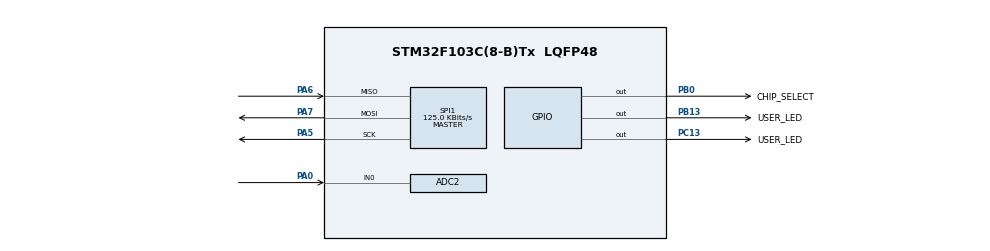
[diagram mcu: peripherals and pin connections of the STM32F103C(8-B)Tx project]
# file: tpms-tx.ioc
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ADC2.Channel-0\#ChannelRegularConversion=ADC_CHANNEL_0
ADC2.ContinuousConvMode=ENABLE
ADC2.NbrOfConversionFlag=1
ADC2.Rank-0\#ChannelRegularConversion=1
ADC2.SamplingTime-0\#ChannelRegularConversion=ADC_SAMPLETIME_41CYCLES_5
Mcu.Family=STM32F1
Mcu.Name=STM32F103C(8-B)Tx
Mcu.Package=LQFP48
NVIC.PriorityGroup=NVIC_PRIORITYGROUP_4
PA0-WKUP.Signal=ADCx_IN0
PA13.Mode=Serial_Wire
PA13.Signal=SYS_JTMS-SWDIO
PA14.Mode=Serial_Wire
PA14.Signal=SYS_JTCK-SWCLK
PA5.Mode=Full_Duplex_Master
PA5.Signal=SPI1_SCK
PA6.Mode=Full_Duplex_Master
PA6.Signal=SPI1_MISO
PA7.Mode=Full_Duplex_Master
PA7.Signal=SPI1_MOSI
PB0.GPIO_Label=CHIP_SELECT
PB0.Signal=GPIO_Output
PB13.GPIO_Label=USER_LED
PB13.Signal=GPIO_Output
PC13-TAMPER-RTC.GPIO_Label=USER_LED
PC13-TAMPER-RTC.Signal=GPIO_Output
PC14-OSC32_IN.Mode=LSE-External-Oscillator
PC14-OSC32_IN.Signal=RCC_OSC32_IN
PC15-OSC32_OUT.Mode=LSE-External-Oscillator
PC15-OSC32_OUT.Signal=RCC_OSC32_OUT
PD0-OSC_IN.Mode=HSE-External-Oscillator
PD0-OSC_IN.Signal=RCC_OSC_IN
PD1-OSC_OUT.Mode=HSE-External-Oscillator
PD1-OSC_OUT.Signal=RCC_OSC_OUT
ProjectManager.HeapSize=0x200
ProjectManager.StackSize=0x400
ProjectManager.TargetToolchain=CMake
RCC.APB1Freq_Value=8000000
RCC.APB2Freq_Value=8000000
SH.ADCx_IN0.0=ADC2_IN0,IN0
SPI1.BaudRatePrescaler=SPI_BAUDRATEPRESCALER_64
SPI1.CalculateBaudRate=125.0 KBits/s
SPI1.Direction=SPI_DIRECTION_2LINES
SPI1.Mode=SPI_MODE_MASTER
SPI1.VirtualType=VM_MASTER
board=custom

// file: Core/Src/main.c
/* USER CODE BEGIN Header */
/**
 ******************************************************************************
 * @file           : main.c
 * @brief          : Main program body
 ******************************************************************************
 * @attention
 *
 * Copyright (c) 2024 STMicroelectronics.
 * All rights reserved.
 *
 * This software is licensed under terms that can be found in the LICENSE file
 * in the root directory of this software component.
 * If no LICENSE file comes with this software, it is provided AS-IS.
 *
 ******************************************************************************
 */
/* USER CODE END Header */
#include "main.h"
#include "adc.h"
#include "spi.h"
#include "gpio.h"

/* USER CODE BEGIN Includes */

#include "nrf2401.h"

/* USER CODE END Includes */

void SystemClock_Config(void);

int main(void)
{

  /* USER CODE BEGIN 1 */

  // SPI payloads
  static TxPayload txpayload = {0};
  uint8_t rxbuffer[RX_BUF_SZ_BYTES] = {0};

  // RF payloads
  uint8_t rf_payload[PAYLOAD_SZ_BYTES] = {0};

  /* USER CODE END 1 */

  /* MCU Configuration--------------------------------------------------------*/

  /* Reset of all peripherals, Initializes the Flash interface and the Systick. */
  HAL_Init();

  /* Configure the system clock */
  SystemClock_Config();

  /* Initialize all configured peripherals */
  MX_GPIO_Init();
  MX_SPI1_Init();
  MX_ADC2_Init();
  /* USER CODE BEGIN 2 */

  // transmit a test command to bring CLK low (not sure why the clock is high to
  // begin with)
  txpayload.command = R_REGISTER(CONFIG_REGISTER);
  tx_cmd(&txpayload, 1);

  HAL_Delay(1000);

  // make sure to power on the device
  txpayload.command = W_REGISTER(CONFIG_REGISTER);
  txpayload.data[0] = 0b00001110;
  tx_cmd(&txpayload, 2);

  // turn off auto re-transmission
  txpayload.command = W_REGISTER(SETUP_RETR);
  // txpayload.data[0] = 0x0; /* disables auto re-transmission */
  txpayload.data[0] = 0x3; /* default value */
  tx_cmd(&txpayload, 2);

  // flush the TX buffer
  txpayload.command = FLUSH_TX;
  tx_cmd(&txpayload, 1);

  // read back configuration

  txpayload.command = R_REGISTER(CONFIG_REGISTER);
  tx_rx_cmd(&txpayload, 1, rxbuffer, 1);
  uint8_t config = rxbuffer[0];

  txpayload.command = R_REGISTER(EN_RXADDR);
  tx_rx_cmd(&txpayload, 1, rxbuffer, 1);
  uint8_t en_rxaddr = rxbuffer[0];

  txpayload.command = R_REGISTER(RF_CH);
  tx_rx_cmd(&txpayload, 1, rxbuffer, 1);
  uint8_t rfch = rxbuffer[0];

  txpayload.command = R_REGISTER(RF_SETUP);
  tx_rx_cmd(&txpayload, 1, rxbuffer, 1);
  uint8_t rfsetup = rxbuffer[0];

  txpayload.command = R_REGISTER(SETUP_RETR);
  tx_rx_cmd(&txpayload, 1, rxbuffer, 1);
  uint8_t retr_setup = rxbuffer[0];

  txpayload.command = R_REGISTER(RX_ADDR_P0);
  tx_rx_cmd(&txpayload, 1, rxbuffer, 5);
  uint64_t rx_addr_p0 = *((uint64_t*)rxbuffer);

  txpayload.command = R_REGISTER(TX_ADDR);
  tx_rx_cmd(&txpayload, 1, rxbuffer, 5);
  uint64_t tx_addr = *((uint64_t*)rxbuffer);

  // assert correct configuration

  assert_param(config == 0b00001110);
  assert_param(en_rxaddr == 0b00000011);
  assert_param(rfch == 0b00000010);
  assert_param(rfsetup == 0b00001111);
  assert_param(rx_addr_p0 == 0xe7e7e7e7e7);
  assert_param(tx_addr == 0xe7e7e7e7e7);
  assert_param(retr_setup == 0x3);

  // setup the RF transmission payload
  // *((uint64_t*)rf_payload) = (uint64_t)(0xdeadbeef);

  HAL_ADC_Start(&hadc2);

  /* USER CODE END 2 */

  /* Infinite loop */
  while (1) {

    /* USER CODE BEGIN 3 */

    // read the pressure sensor
    HAL_ADC_PollForConversion(&hadc2, 1000);
    uint32_t pressure_val = HAL_ADC_GetValue(&hadc2);
    *((uint32_t*)rf_payload) = pressure_val;

    // transmit a test payload of 8 bytes
    txpayload.command = W_TX_PAYLOAD;
    memcpy(txpayload.data, rf_payload, PAYLOAD_SZ_BYTES);
    tx_cmd(&txpayload, PAYLOAD_SZ_BYTES + 1);

    // check the TX FIFO status
    txpayload.command = R_REGISTER(FIFO_STATUS);
    tx_rx_cmd(&txpayload, 1, rxbuffer , 1);
    uint8_t fifo_status = rxbuffer[0];
    uint8_t tx_full = (fifo_status >> 5) & 0x1;

    // if (tx_full) {
    //   HAL_GPIO_WritePin(USER_LED_GPIO_Port, USER_LED_Pin, GPIO_PIN_SET);
    // }

    HAL_GPIO_TogglePin(USER_LED_GPIO_Port, USER_LED_Pin);

    HAL_Delay(1000);
  }
  /* USER CODE END 3 */
}

void SystemClock_Config(void)
{
  RCC_OscInitTypeDef RCC_OscInitStruct = {0};
  RCC_ClkInitTypeDef RCC_ClkInitStruct = {0};
  RCC_PeriphCLKInitTypeDef PeriphClkInit = {0};

  /** Initializes the RCC Oscillators according to the specified parameters
  * in the RCC_OscInitTypeDef structure.
  */
  RCC_OscInitStruct.OscillatorType = RCC_OSCILLATORTYPE_HSI;
  RCC_OscInitStruct.HSIState = RCC_HSI_ON;
  RCC_OscInitStruct.HSICalibrationValue = RCC_HSICALIBRATION_DEFAULT;
  RCC_OscInitStruct.PLL.PLLState = RCC_PLL_NONE;
  if (HAL_RCC_OscConfig(&RCC_OscInitStruct) != HAL_OK)
  {
    Error_Handler();
  }

  /** Initializes the CPU, AHB and APB buses clocks
  */
  RCC_ClkInitStruct.ClockType = RCC_CLOCKTYPE_HCLK|RCC_CLOCKTYPE_SYSCLK
                              |RCC_CLOCKTYPE_PCLK1|RCC_CLOCKTYPE_PCLK2;
  RCC_ClkInitStruct.SYSCLKSource = RCC_SYSCLKSOURCE_HSI;
  RCC_ClkInitStruct.AHBCLKDivider = RCC_SYSCLK_DIV1;
  RCC_ClkInitStruct.APB1CLKDivider = RCC_HCLK_DIV1;
  RCC_ClkInitStruct.APB2CLKDivider = RCC_HCLK_DIV1;

  if (HAL_RCC_ClockConfig(&RCC_ClkInitStruct, FLASH_LATENCY_0) != HAL_OK)
  {
    Error_Handler();
  }
  PeriphClkInit.PeriphClockSelection = RCC_PERIPHCLK_ADC;
  PeriphClkInit.AdcClockSelection = RCC_ADCPCLK2_DIV2;
  if (HAL_RCCEx_PeriphCLKConfig(&PeriphClkInit) != HAL_OK)
  {
    Error_Handler();
  }
}

void Error_Handler(void)
{
  __disable_irq();
  while (1) {
  }
}

#ifdef  USE_FULL_ASSERT
/**
  * @brief  Reports the name of the source file and the source line number
  *         where the assert_param error has occurred.
  * @param  file: pointer to the source file name
  * @param  line: assert_param error line source number
  * @retval None
  */
void assert_failed(uint8_t *file, uint32_t line)
{
  /* USER CODE BEGIN 6 */

  HAL_GPIO_WritePin(USER_LED_GPIO_Port, USER_LED_Pin, GPIO_PIN_SET);

  while (1);

  /* USER CODE END 6 */
}
#endif /* USE_FULL_ASSERT */
